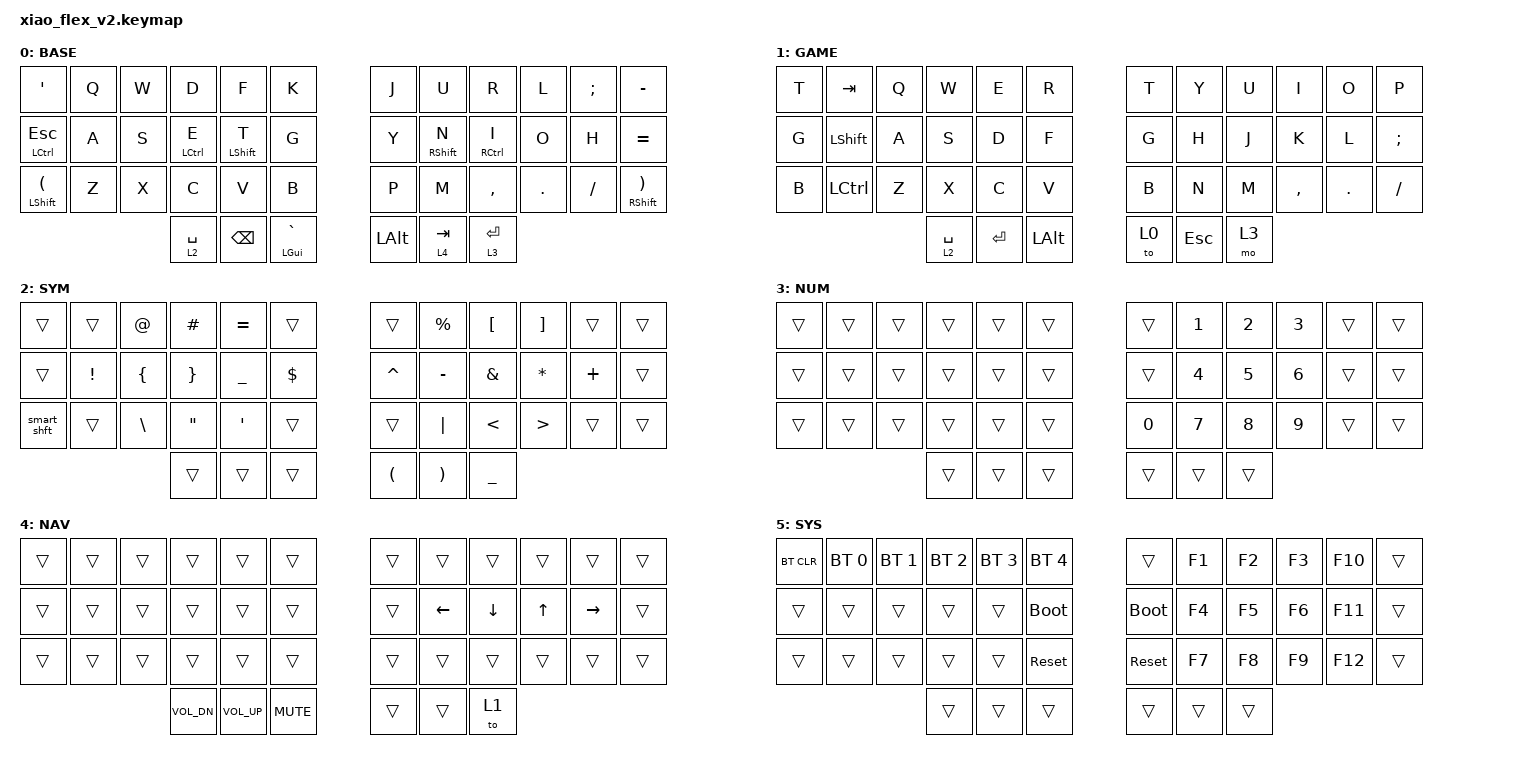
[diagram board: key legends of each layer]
/*
 * Copyright (c) 2020 The ZMK Contributors
 *
 * SPDX-License-Identifier: MIT
 */

#include <behaviors.dtsi>
#include <dt-bindings/zmk/bt.h>
#include <dt-bindings/zmk/keys.h>

#define BASE 0
#define SYM 1
#define NUM 2
#define NAV 3
#define FUN 4

/* Global settings */

#define QUICK_TAP_MS 175

&sk {
    release-after-ms = <900>;  // release after 0.6s
    quick-release;             // no double capitalization when rolling keys
};

&sl {
    ignore-modifiers;          // allow chording sticky mods & layers
};

&lt {
    flavor = "balanced";
    tapping-term-ms = <200>;
    quick-tap-ms = <QUICK_TAP_MS>;
};

/ {
    behaviors {
        hml: hml {
            compatible = "zmk,behavior-hold-tap";
            label = "HML";
            bindings = <&kp>, <&kp>;

            #binding-cells = <2>;
            hold-trigger-key-positions = <6 7 8 9 10 11 18 19 20 21 22 23 30 31 32 33 34 35 39 40 41>;
            flavor = "balanced";
            tapping-term-ms = <280>;
            require-prior-idle-ms = <150>;
            hold-trigger-on-release;
            quick-tap-ms = <175>;
        };

        hmr: hmr {
            compatible = "zmk,behavior-hold-tap";
            label = "HMR";
            bindings = <&kp>, <&kp>;

            #binding-cells = <2>;
            tapping-term-ms = <280>;
            quick-tap-ms = <175>;
            require-prior-idle-ms = <150>;
            flavor = "balanced";
            hold-trigger-key-positions = <0 1 2 3 4 5 12 13 14 15 16 17 24 25 26 27 28 29 36 37 38>;
            hold-trigger-on-release;
        };

        smart_shft: smart_shft {
            compatible = "zmk,behavior-mod-morph";
            label = "SMART_SHFT";
            bindings = <&sk LSHFT>, <&caps_word>;

            #binding-cells = <0>;
            mods = <(MOD_LSFT)>;
        };
    };

    keymap {
        compatible = "zmk,keymap";

        base_layer {
            bindings = <
&kp SQT         &kp Q  &kp W  &kp D         &kp F          &kp K             &kp J     &kp U          &kp R         &kp L    &kp SEMI  &kp MINUS
&mt LCTRL ESC   &kp A  &kp S  &hml LCTRL E  &hml LSHIFT T  &kp G             &kp Y     &hmr RSHIFT N  &hmr RCTRL I  &kp O    &kp H     &kp EQUAL
&mt LSHFT LPAR  &kp Z  &kp X  &kp C         &kp V          &kp B             &kp P     &kp M          &kp COMMA     &kp DOT  &kp FSLH  &mt RSHIFT RPAR
                              &lt 2 SPACE   &kp BSPC       &mt LGUI GRAVE    &kp LALT  &lt 4 TAB      &lt 3 ENTER
            >;

            label = "BASE";
        };

        game_layer {
            bindings = <
&kp T  &kp TAB    &kp Q  &kp W        &kp E      &kp R       &kp T  &kp Y    &kp U  &kp I      &kp O    &kp P
&kp G  &kp LSHFT  &kp A  &kp S        &kp D      &kp F       &kp G  &kp H    &kp J  &kp K      &kp L    &kp SEMI
&kp B  &kp LCTRL  &kp Z  &kp X        &kp C      &kp V       &kp B  &kp N    &kp M  &kp COMMA  &kp DOT  &kp FSLH
                         &lt 2 SPACE  &kp ENTER  &kp LALT    &to 0  &kp ESC  &mo 3
            >;

            label = "GAME";
        };

        sym_layer {
            bindings = <
&trans       &trans    &kp AT    &kp HASH  &kp EQUAL       &trans      &trans     &kp PRCNT  &kp LBKT   &kp RBKT  &trans    &trans
&trans       &kp EXCL  &kp LBRC  &kp RBRC  &kp UNDERSCORE  &kp DLLR    &kp CARET  &kp MINUS  &kp AMPS   &kp STAR  &kp PLUS  &trans
&smart_shft  &trans    &kp BSLH  &kp DQT   &kp SQT         &trans      &trans     &kp PIPE   &kp LT     &kp GT    &trans    &trans
                                 &trans    &trans          &trans      &kp LPAR   &kp RPAR   &kp UNDER
            >;

            label = "SYM";
        };

        num_layer {
            bindings = <
&trans  &trans  &trans  &trans  &trans  &trans    &trans  &kp N1  &kp N2  &kp N3  &trans  &trans
&trans  &trans  &trans  &trans  &trans  &trans    &trans  &kp N4  &kp N5  &kp N6  &trans  &trans
&trans  &trans  &trans  &trans  &trans  &trans    &kp N0  &kp N7  &kp N8  &kp N9  &trans  &trans
                        &trans  &trans  &trans    &trans  &trans  &trans
            >;

            label = "NUM";
        };

        nav_layer {
            bindings = <
&trans  &trans  &trans  &trans        &trans        &trans        &trans  &trans    &trans    &trans  &trans     &trans
&trans  &trans  &trans  &trans        &trans        &trans        &trans  &kp LEFT  &kp DOWN  &kp UP  &kp RIGHT  &trans
&trans  &trans  &trans  &trans        &trans        &trans        &trans  &trans    &trans    &trans  &trans     &trans
                        &kp C_VOL_DN  &kp C_VOL_UP  &kp C_MUTE    &trans  &trans    &to 1
            >;

            label = "NAV";
        };

        sys_layer {
            bindings = <
&bt BT_CLR  &bt BT_SEL 0  &bt BT_SEL 1  &bt BT_SEL 2  &bt BT_SEL 3  &bt BT_SEL 4    &trans       &kp F1  &kp F2  &kp F3  &kp F10  &trans
&trans      &trans        &trans        &trans        &trans        &bootloader     &bootloader  &kp F4  &kp F5  &kp F6  &kp F11  &trans
&trans      &trans        &trans        &trans        &trans        &sys_reset      &sys_reset   &kp F7  &kp F8  &kp F9  &kp F12  &trans
                                        &trans        &trans        &trans          &trans       &trans  &trans
            >;

            label = "SYS";
        };
    };

    conditional_layers {
        compatible = "zmk,conditional-layers";

        SYS {
            if-layers = <2 3>;
            then-layer = <5>;
        };
    };
};
